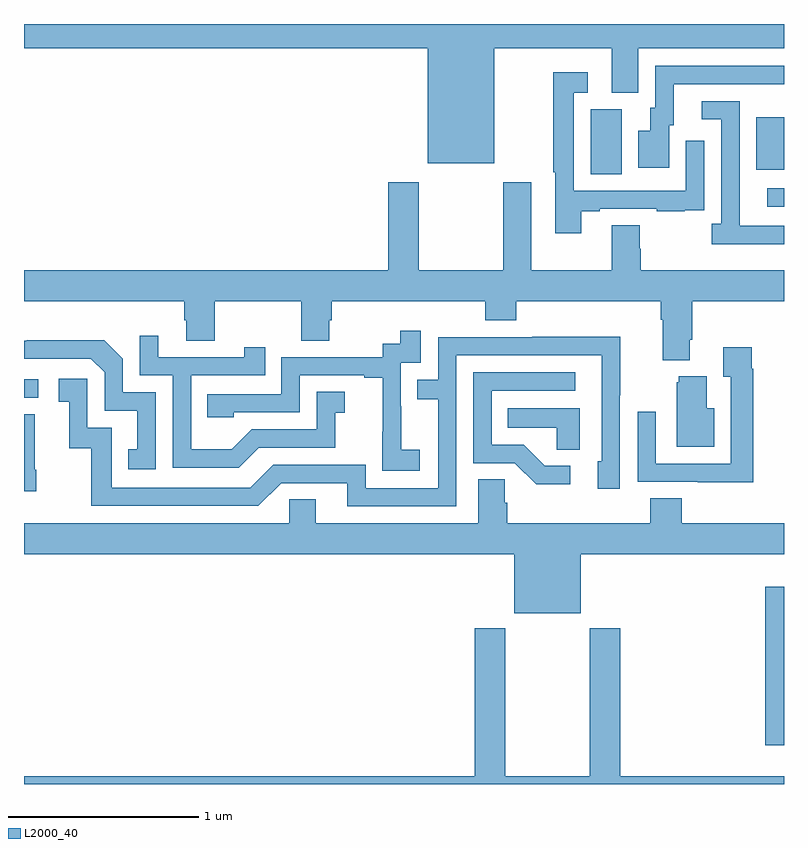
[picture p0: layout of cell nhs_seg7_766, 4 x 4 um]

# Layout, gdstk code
import gdstk
lib = gdstk.Library(unit=1e-6, precision=1e-09)
def R(c, l, rs):  # rectangles x0, y0, x1, y1
    for r in rs: c.add(gdstk.rectangle(r[:2], r[2:], *l))
def P(c, l, *ps):  # polygons
    for p in ps: c.add(gdstk.Polygon(p, *l))
L2000_40 = (2000, 40)

nhs_seg7_766 = lib.new_cell('nhs_seg7_766')
R(nhs_seg7_766, L2000_40, [(170.9,1074.204,171,1075.039), (167,1076.034,167.074,1076.13), (170.913,1077.039,171,1077.135), (169.982,1077.208,170.146,1077.552), (170.855,1077.233,171,1077.508)])
P(nhs_seg7_766, L2000_40, [(169.474,1077.872),(170.093,1077.872),(170.093,1077.637),(170.233,1077.637),(170.233,1077.872),(171,1077.872),(171,1078),(167,1078),(167,1077.872),(169.124,1077.872),(169.124,1077.266),(169.474,1077.266)],
  [(170.395,1077.468),(170.419,1077.468),(170.419,1077.684),(171,1077.684),(171,1077.78),(170.322,1077.78),(170.322,1077.558),(170.297,1077.558),(170.297,1077.439),(170.234,1077.439),(170.234,1077.243),(170.395,1077.243)],
  [(169.933,1077.015),(170.029,1077.015),(170.029,1077.027),(170.329,1077.027),(170.329,1077.015),(170.477,1077.015),(170.477,1077.021),(170.579,1077.021),(170.579,1077.13),(170.58,1077.13),(170.58,1077.385),(170.484,1077.385),(170.484,1077.123),(169.893,1077.123),(169.893,1077.639),(169.966,1077.639),(169.966,1077.745),(169.785,1077.745),(169.785,1077.22),(169.797,1077.22),(169.797,1076.898),(169.933,1076.898)],
  [(171,1076.937),(170.767,1076.937),(170.767,1077.137),(170.766,1077.137),(170.766,1077.594),(170.568,1077.594),(170.568,1077.498),(170.67,1077.498),(170.67,1076.95),(170.619,1076.95),(170.619,1076.84),(171,1076.84)],
  [(170.503,1076.338),(170.516,1076.338),(170.516,1076.54),(171,1076.54),(171,1076.704),(170.246,1076.704),(170.246,1076.817),(170.241,1076.817),(170.241,1076.942),(170.093,1076.942),(170.093,1076.704),(169.669,1076.704),(169.669,1077.166),(169.522,1077.166),(169.522,1076.704),(169.077,1076.704),(169.077,1077.166),(168.917,1077.166),(168.917,1076.704),(167,1076.704),(167,1076.54),(167.843,1076.54),(167.843,1076.442),(167.855,1076.442),(167.855,1076.332),(168.003,1076.332),(168.003,1076.54),(168.46,1076.54),(168.46,1076.332),(168.607,1076.332),(168.607,1076.442),(168.62,1076.442),(168.62,1076.54),(169.427,1076.54),(169.427,1076.441),(169.592,1076.441),(169.592,1076.54),(170.351,1076.54),(170.351,1076.444),(170.363,1076.444),(170.363,1076.231),(170.503,1076.231)],
  [(169.084,1075.759),(168.986,1075.759),(168.986,1075.988),(168.984,1075.988),(168.984,1076.217),(169.089,1076.217),(169.089,1076.386),(168.981,1076.386),(168.981,1076.316),(168.888,1076.316),(168.888,1076.247),(168.354,1076.247),(168.354,1076.052),(167.965,1076.052),(167.965,1075.929),(168.105,1075.929),(168.105,1075.956),(168.45,1075.956),(168.45,1076.151),(168.791,1076.151),(168.791,1076.139),(168.887,1076.139),(168.887,1075.855),(168.886,1075.855),(168.886,1075.649),(169.084,1075.649)],
  [(168.235,1075.77),(168.639,1075.77),(168.639,1075.955),(168.688,1075.955),(168.688,1076.065),(168.54,1076.065),(168.54,1075.866),(168.198,1075.866),(168.094,1075.762),(167.88,1075.762),(167.88,1076.151),(168.269,1076.151),(168.269,1076.299),(168.158,1076.299),(168.158,1076.247),(167.707,1076.247),(167.707,1076.359),(167.61,1076.359),(167.61,1076.151),(167.784,1076.151),(167.784,1075.665),(168.13,1075.665)],
  [(169.275,1076.256),(170.04,1076.256),(170.04,1075.698),(170.021,1075.698),(170.021,1075.554),(170.136,1075.554),(170.136,1076.047),(170.139,1076.047),(170.139,1076.354),(169.675,1076.354),(169.675,1076.352),(169.179,1076.352),(169.179,1076.127),(169.069,1076.127),(169.069,1076.026),(169.179,1076.026),(169.179,1075.557),(168.798,1075.557),(168.798,1075.68),(168.312,1075.68),(168.192,1075.56),(167.463,1075.56),(167.463,1075.875),(167.334,1075.875),(167.334,1076.134),(167.184,1076.134),(167.184,1076.013),(167.237,1076.013),(167.237,1075.767),(167.355,1075.767),(167.355,1075.464),(168.234,1075.464),(168.354,1075.584),(168.701,1075.584),(168.701,1075.461),(169.275,1075.461)],
  [(167.694,1076.061),(167.52,1076.061),(167.52,1076.238),(167.422,1076.336),(167.014,1076.336),(167.014,1076.334),(167,1076.334),(167,1076.238),(167.352,1076.238),(167.424,1076.166),(167.424,1075.965),(167.597,1075.965),(167.597,1075.761),(167.548,1075.761),(167.548,1075.656),(167.694,1075.656)],
  [(170.837,1076.186),(170.83,1076.186),(170.83,1076.299),(170.681,1076.299),(170.681,1076.143),(170.721,1076.143),(170.721,1075.686),(170.325,1075.686),(170.325,1075.96),(170.229,1075.96),(170.229,1075.59),(170.545,1075.59),(170.545,1075.589),(170.837,1075.589)],
  [(169.876,1075.674),(169.741,1075.674),(169.63,1075.785),(169.461,1075.785),(169.461,1076.07),(169.9,1076.07),(169.9,1076.166),(169.365,1076.166),(169.365,1075.689),(169.584,1075.689),(169.697,1075.577),(169.876,1075.577)],
  [(170.632,1075.978),(170.593,1075.978),(170.593,1076.146),(170.447,1076.146),(170.447,1076.115),(170.435,1076.115),(170.435,1075.775),(170.632,1075.775)],
  [(169.924,1075.978),(169.546,1075.978),(169.546,1075.874),(169.803,1075.874),(169.803,1075.759),(169.924,1075.759)],
  [(167.064,1075.654),(167.056,1075.654),(167.056,1075.945),(167,1075.945),(167,1075.542),(167.064,1075.542)],
  [(169.93,1075.208),(171,1075.208),(171,1075.372),(170.462,1075.372),(170.462,1075.505),(170.297,1075.505),(170.297,1075.372),(169.544,1075.372),(169.544,1075.481),(169.53,1075.481),(169.53,1075.604),(169.391,1075.604),(169.391,1075.372),(168.535,1075.372),(168.535,1075.499),(168.396,1075.499),(168.396,1075.372),(167,1075.372),(167,1075.208),(169.58,1075.208),(169.58,1074.899),(169.93,1074.899)],
  [(171,1074.04),(170.138,1074.04),(170.138,1074.82),(169.978,1074.82),(169.978,1074.04),(169.533,1074.04),(169.533,1074.82),(169.373,1074.82),(169.373,1074.04),(167,1074.04),(167,1074),(171,1074)])

lib.write_gds('nhs_seg7_766.gds')
